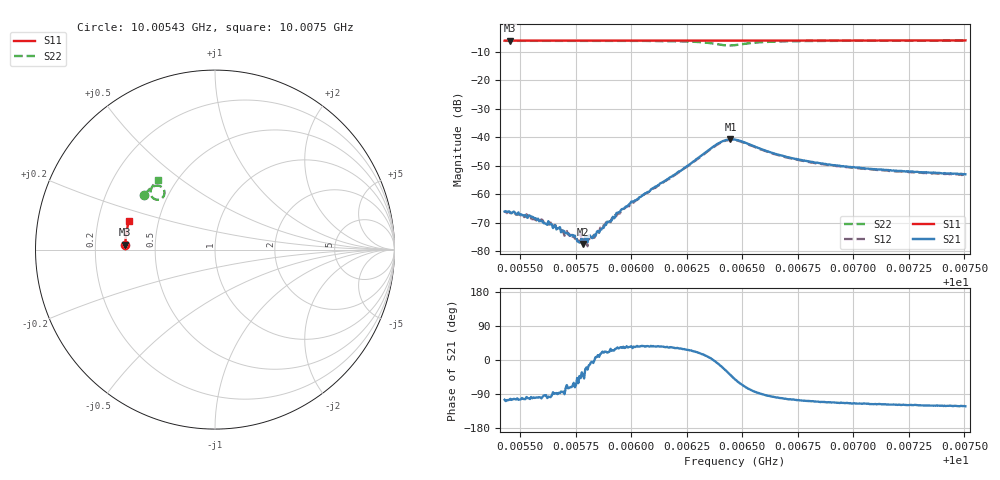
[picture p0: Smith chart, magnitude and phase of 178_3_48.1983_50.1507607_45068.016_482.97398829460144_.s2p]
#  HZ  S  RI  R  50.00
! Rohde & Schwarz Vector Network Analyzer
! Rohde-Schwarz,ZNB20-2Port,1311601062101988,3.16
! Created: UTC 3/20/2024, 11:44:01 AM
! freq[Hz]  re:S11  im:S11  re:S21  im:S21  re:S12  im:S12  re:S22  im:S22
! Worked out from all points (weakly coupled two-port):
!   401 points, 10.00543 GHz to 10.0075 GHz, reference 50 ohm
!   highest |S21| = -40.70 dB at 10.00645 GHz (marker M1); lowest = -77.5 dB at 10.00578 GHz (marker M2)
!   lowest |S11| = -6.0 dB at 10.00546 GHz (marker M3), VSWR 3.00, Z = 16.7 + j1.21 ohm
!   |S11| at or under -10 dB: nowhere
!   |S22| runs from -7.7 to -6.0 dB; largest |S21 - S12| = 0.00054
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1.0005431e10  -0.4999 0.0256  -0.000128 -0.000478  -9.27e-05 -0.000498  -0.3928 0.3034
1.0005457e10  -0.4996 0.0273  -0.000103 -0.000467  -8.95e-05 -0.000455  -0.3917 0.305
1.000555e10  -0.4995 0.0334  -5.3e-05 -0.000398  -4.41e-05 -0.000373  -0.3876 0.3106
1.0005633e10  -0.4994 0.0388  -3.87e-05 -0.000296  3.33e-06 -0.000294  -0.3838 0.3155
1.0005742e10  -0.499 0.046  8.96e-05 -0.000156  8.23e-05 -0.000169  -0.3783 0.3223
1.0005757e10  -0.4989 0.0469  0.000102 -0.000111  9.41e-05 -0.000124  -0.3775 0.3232
1.0005762e10  -0.4989 0.0472  7.01e-05 -0.000127  0.000102 -0.000113  -0.3771 0.3237
1.0005778e10  -0.4989 0.0482  0.00014 -8.92e-05  0.000125 -6.19e-05  -0.3764 0.3245
1.0005783e10  -0.4989 0.0485  0.000103 -8.56e-05  0.000133 -9.75e-05  -0.3761 0.3248
1.0005794e10  -0.4988 0.0491  0.000166 -7.54e-05  0.000153 -7.56e-05  -0.3757 0.3257
1.0005814e10  -0.4987 0.0505  0.000185 -3.96e-05  0.000153 -2.58e-05  -0.3745 0.3269
1.0005835e10  -0.4987 0.0519  0.000195 3.9e-07  0.000172 1.21e-05  -0.3733 0.3281
1.0005892e10  -0.4983 0.0555  0.000309 0.000109  0.000298 0.000134  -0.3698 0.332
1.0006001e10  -0.4975 0.0626  0.000595 0.00044  0.000559 0.000429  -0.362 0.3393
1.0006125e10  -0.4967 0.0708  0.0012 0.000858  0.00112 0.000905  -0.3499 0.3485
1.0006384e10  -0.4938 0.0873  0.00746 -0.000874  0.0073 -0.000457  -0.2838 0.3307
1.0006447e10  -0.4933 0.0908  0.0071 -0.00589  0.00722 -0.00542  -0.2956 0.2866
1.0006467e10  -0.4933 0.092  0.00574 -0.00707  0.00599 -0.0066  -0.3103 0.2791
1.0006649e10  -0.492 0.1036  -0.000719 -0.00505  -0.000497 -0.00503  -0.3596 0.3212
1.0006815e10  -0.49 0.1141  -0.00118 -0.0035  -0.00101 -0.00347  -0.3527 0.3451
1.0007162e10  -0.4851 0.1361  -0.00122 -0.00232  -0.00107 -0.00233  -0.3342 0.3715
1.0007504e10  -0.4795 0.1574  -0.00119 -0.0019  -0.00106 -0.00192  -0.3163 0.3897
